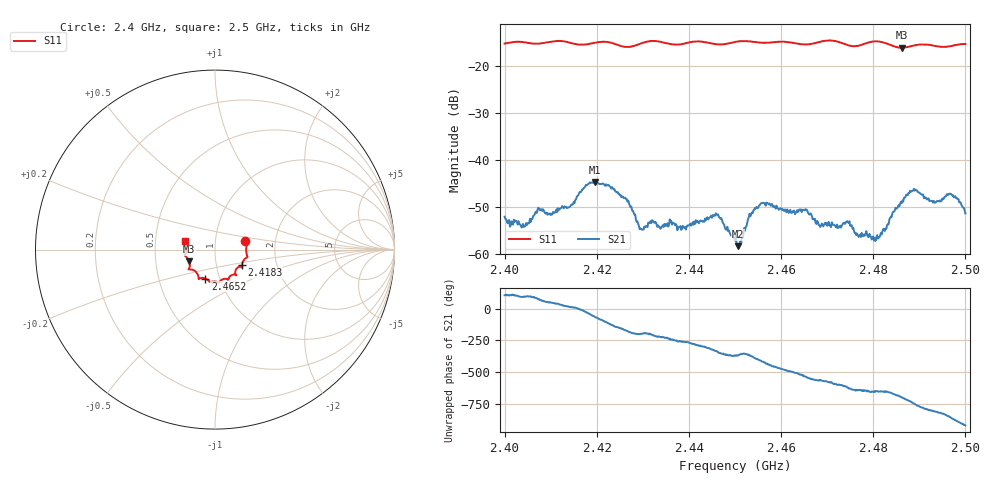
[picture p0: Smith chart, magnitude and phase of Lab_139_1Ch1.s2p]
# Hz S RI R 50
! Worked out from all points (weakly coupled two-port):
!   601 points, 2.4 GHz to 2.5 GHz, reference 50 ohm
!   highest |S21| = -44.65 dB at 2.4197 GHz (marker M1); lowest = -58.3 dB at 2.4507 GHz (marker M2)
!   lowest |S11| = -16.1 dB at 2.4862 GHz (marker M3), VSWR 1.37, Z = 37.2 - j4.9 ohm
!   |S11| at or under -10 dB: start of sweep to end of sweep
!   S12 and S22 are empty: the file has one direction only
!   S11 on the Smith chart (normalised r, x): 2.4 GHz: 1.40, +0.14; 2.4183 GHz: 1.33, -0.24; 2.4652 GHz: 0.85, -0.28; 2.5 GHz: 0.71, +0.07
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2.4e9  0.1677 0.0471  -0.000634 0.00242  0 0  0 0
2.404e9  0.1786 0.0268  -8.73e-05 0.00209  0 0  0 0
2.414e9  0.1723 -0.0471  0.00308 0.000689  0 0  0 0
2.416667e9  0.1552 -0.0677  0.00457 -0.000865  0 0  0 0
2.418333e9  0.15 -0.086  0.00431 -0.00365  0 0  0 0
2.419667e9  0.1499 -0.0961  0.00228 -0.00539  0 0  0 0
2.4265e9  0.1222 -0.1035  -0.00383 -0.000257  0 0  0 0
2.429667e9  0.113 -0.1338  -0.00177 0.000534  0 0  0 0
2.433333e9  0.1169 -0.1414  -0.00155 0.00129  0 0  0 0
2.445833e9  0.0554 -0.1628  0.00242 0.00121  0 0  0 0
2.45e9  0.0257 -0.1794  0.00137 -0.000249  0 0  0 0
2.450667e9  0.0235 -0.1821  0.0012 -0.000168  0 0  0 0
2.455833e9  0.00139 -0.1778  0.00195 -0.00289  0 0  0 0
2.465167e9  -0.0545 -0.1614  -0.0029 -0.00035  0 0  0 0
2.466667e9  -0.0708 -0.1577  -0.00251 0.000517  0 0  0 0
2.480167e9  -0.147 -0.1102  0.000459 0.00131  0 0  0 0
2.483333e9  -0.1415 -0.0967  0.000939 0.00184  0 0  0 0
2.486167e9  -0.1433 -0.0642  0.00318 0.00143  0 0  0 0
2.488833e9  -0.1608 -0.0411  0.00447 -0.00213  0 0  0 0
2.493167e9  -0.1642 -0.0183  0.000304 -0.00365  0 0  0 0
2.4965e9  -0.1612 0.0209  -0.00274 -0.00344  0 0  0 0
2.5e9  -0.1657 0.0473  -0.00258 0.000804  0 0  0 0
